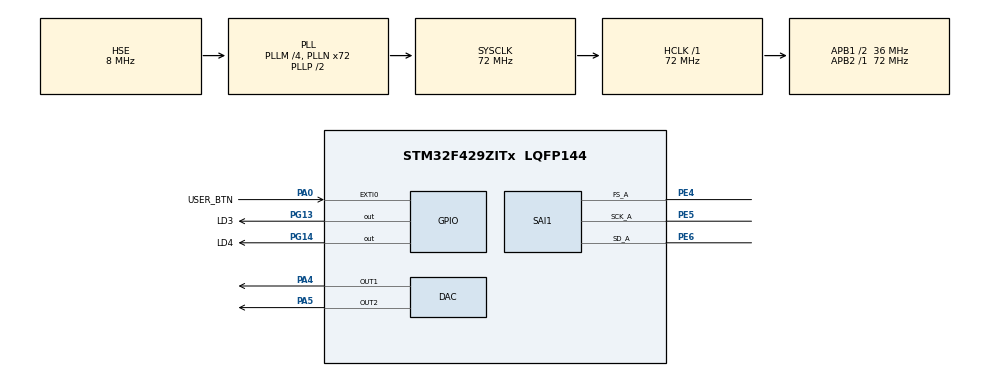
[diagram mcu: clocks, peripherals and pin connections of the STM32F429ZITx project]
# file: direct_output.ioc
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DAC.DAC_Trigger=DAC_TRIGGER_T2_TRGO
DAC.DAC_Trigger2=DAC_TRIGGER_T2_TRGO
DAC.WaveGeneration=DISABLE
Dma.DAC1.1.Direction=DMA_MEMORY_TO_PERIPH
Dma.DAC1.1.FIFOMode=DMA_FIFOMODE_DISABLE
Dma.DAC1.1.Instance=DMA1_Stream5
Dma.DAC1.1.MemDataAlignment=DMA_MDATAALIGN_HALFWORD
Dma.DAC1.1.MemInc=DMA_MINC_ENABLE
Dma.DAC1.1.Mode=DMA_CIRCULAR
Dma.DAC1.1.PeriphDataAlignment=DMA_PDATAALIGN_HALFWORD
Dma.DAC1.1.PeriphInc=DMA_PINC_DISABLE
Dma.DAC1.1.Priority=DMA_PRIORITY_LOW
Dma.DAC2.2.Direction=DMA_MEMORY_TO_PERIPH
Dma.DAC2.2.FIFOMode=DMA_FIFOMODE_DISABLE
Dma.DAC2.2.Instance=DMA1_Stream6
Dma.DAC2.2.MemDataAlignment=DMA_MDATAALIGN_HALFWORD
Dma.DAC2.2.MemInc=DMA_MINC_ENABLE
Dma.DAC2.2.Mode=DMA_CIRCULAR
Dma.DAC2.2.PeriphDataAlignment=DMA_PDATAALIGN_HALFWORD
Dma.DAC2.2.PeriphInc=DMA_PINC_DISABLE
Dma.DAC2.2.Priority=DMA_PRIORITY_LOW
Dma.Request0=SAI1_A
Dma.Request1=DAC1
Dma.Request2=DAC2
Dma.SAI1_A.0.Direction=DMA_PERIPH_TO_MEMORY
Dma.SAI1_A.0.FIFOMode=DMA_FIFOMODE_DISABLE
Dma.SAI1_A.0.Instance=DMA2_Stream1
Dma.SAI1_A.0.MemDataAlignment=DMA_MDATAALIGN_HALFWORD
Dma.SAI1_A.0.MemInc=DMA_MINC_ENABLE
Dma.SAI1_A.0.Mode=DMA_CIRCULAR
Dma.SAI1_A.0.PeriphDataAlignment=DMA_PDATAALIGN_HALFWORD
Dma.SAI1_A.0.PeriphInc=DMA_PINC_DISABLE
Dma.SAI1_A.0.Priority=DMA_PRIORITY_LOW
Mcu.Family=STM32F4
Mcu.Name=STM32F429ZITx
Mcu.Package=LQFP144
NVIC.DMA1_Stream5_IRQn=true\:0\:0\:false\:false\:true\:false\:true
NVIC.DMA1_Stream6_IRQn=true\:0\:0\:false\:false\:true\:false\:true
NVIC.DMA2_Stream1_IRQn=true\:0\:0\:false\:false\:true\:false\:true
NVIC.PriorityGroup=NVIC_PRIORITYGROUP_4
NVIC.TIM6_DAC_IRQn=true\:15\:0\:false\:false\:true\:false\:true
NVIC.TimeBase=TIM6_DAC_IRQn
NVIC.TimeBaseIP=TIM6
PA0/WKUP.GPIO_Label=USER_BTN
PA0/WKUP.GPIO_ModeDefaultEXTI=GPIO_MODE_EVT_RISING
PA0/WKUP.Signal=GPXTI0
PA13.Mode=Serial_Wire
PA13.Signal=SYS_JTMS-SWDIO
PA14.Mode=Serial_Wire
PA14.Signal=SYS_JTCK-SWCLK
PA4.Signal=COMP_DAC1_group
PA5.Signal=COMP_DAC2_group
PE4.Mode=SAI_A_Master
PE4.Signal=SAI1_FS_A
PE5.Mode=SAI_A_Master
PE5.Signal=SAI1_SCK_A
PE6.Mode=SAI_A_Master
PE6.Signal=SAI1_SD_A
PG13.GPIO_Label=LD3
PG13.Signal=GPIO_Output
PG14.GPIO_Label=LD4
PG14.Signal=GPIO_Output
PH0/OSC_IN.Mode=HSE-External-Oscillator
PH0/OSC_IN.Signal=RCC_OSC_IN
PH1/OSC_OUT.Mode=HSE-External-Oscillator
PH1/OSC_OUT.Signal=RCC_OSC_OUT
ProjectManager.HeapSize=0x200
ProjectManager.StackSize=0x400
ProjectManager.TargetToolchain=STM32CubeIDE
RCC.48MHZClocksFreq_Value=36000000
RCC.AHBFreq_Value=72000000
RCC.APB1CLKDivider=RCC_HCLK_DIV2
RCC.APB1Freq_Value=36000000
RCC.APB1TimFreq_Value=72000000
RCC.APB2Freq_Value=72000000
RCC.APB2TimFreq_Value=72000000
RCC.CortexFreq_Value=72000000
RCC.HCLKFreq_Value=72000000
RCC.HSE_VALUE=8000000
RCC.HSI_VALUE=16000000
RCC.LSE_VALUE=32768
RCC.PLLM=4
RCC.PLLN=72
RCC.PLLSAIDivQ=25
RCC.PLLSAIN=192
RCC.PLLSAIQ=5
RCC.PLLSourceVirtual=RCC_PLLSOURCE_HSE
RCC.SYSCLKFreq_VALUE=72000000
RCC.SYSCLKSource=RCC_SYSCLKSOURCE_PLLCLK
RCC.VCOOutputFreq_Value=144000000
SAI1.ActiveFrameLength-SAI_A_Master=32
SAI1.AudioMode-SAI_A_Master=SAI_MODEMASTER_RX
SAI1.ClockStrobing-SAI_A_Master=SAI_CLOCKSTROBING_RISINGEDGE
SAI1.DataSize-SAI_A_Master=SAI_DATASIZE_16
SAI1.ErrorAudioFreq-SAI_A_Master=-62.5 %
SAI1.FSDefinition-SAI_A_Master=SAI_FS_CHANNEL_IDENTIFICATION
SAI1.FrameLength-SAI_A_Master=64
SAI1.Instance-SAI_A_Master=SAI$Index_Block_A
SAI1.MClockEnable-SAI_A_Master=SAI_MASTERCLOCK_DISABLE
SAI1.NoDivider-SAI_A_Master=SAI_MASTERDIVIDER_DISABLE
SAI1.RealAudioFreq-SAI_A_Master=48.0 KHz
SAI1.SlotActive-SAI_A_Master=0x0000FFFF
SAI1.SlotNumber-SAI_A_Master=4
SAI1.Synchro_A=SAI_ASYNCHRONOUS
SAI1.VirtualMode-SAI_A_Master=VM_MASTER
SAI1.VirtualSlotActive-SAI_A_Master=SAI_SLOTACTIVE_ALL
SH.COMP_DAC1_group.0=DAC_OUT1,DAC_OUT1
SH.COMP_DAC2_group.0=DAC_OUT2,DAC_OUT2
TIM2.Period=1499
TIM2.TIM_MasterOutputTrigger=TIM_TRGO_UPDATE
VP_SYS_VS_tim6.Mode=TIM6
VP_TIM2_VS_ClockSourceINT.Mode=Internal
board=custom

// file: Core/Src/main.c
/* USER CODE BEGIN Header */
/**
  ******************************************************************************
  * @file           : main.c
  * @brief          : Main program body
  ******************************************************************************
  * @attention
  *
  * <h2><center>&copy; Copyright (c) 2021 STMicroelectronics.
  * All rights reserved.</center></h2>
  *
  * This software component is licensed by ST under BSD 3-Clause license,
  * the "License"; You may not use this file except in compliance with the
  * License. You may obtain a copy of the License at:
  *                        opensource.org/licenses/BSD-3-Clause
  *
  ******************************************************************************
  */
/* USER CODE END Header */
#include "main.h"

/* USER CODE BEGIN Includes */
#include "pdm_fir.h"
#include <stdlib.h>
#include <string.h>
/* USER CODE END Includes */

/* USER CODE BEGIN PTD */
/**
 * @brief Enum of States the Program can Take
 * */
typedef enum program_state {
    /** @brief Program Waiting for User Input */
    IDLE,
    /** @brief Program is outputing in real time captured output on the DAC*/
    RECORDING,
} program_state_t;
/* USER CODE END PTD */

/* USER CODE BEGIN PD */
// CLANG WARNING SUPPRESSION
#pragma clang diagnostic push
#pragma ide diagnostic ignored "EndlessLoop"

/** @brief PCM Sampling frequency in Hz*/
#define SOUND_FS 48000
/** @brief PDM -> PCM Sampling frequency factor */
#define DECIMATION_FACTOR 64

/** @brief Number of PDM Sample in A Word */
#define WORD_SIZE 16

/** @brief Duration of a real time cycle in Milliseconds **/
#define T_CYCLE_MS 1

// 1ms of PDM data @SOUND_FS*DECIMATION_FACTOR in WORD of WORD_SIZE
/** @brief PDM Processing buffer size (Contain 1ms of PDM Sample)*/
#define PDM_BUFFER_SIZE (T_CYCLE_MS * ((SOUND_FS / 1000) * DECIMATION_FACTOR / WORD_SIZE))

// 1ms of PCM_DATA in word of WORD_SIZE
/** @brief PCM Processing buffer size  (Contain 1ms of PDM Sample)*/
#define PCM_BUFFER_SIZE (T_CYCLE_MS * (SOUND_FS / 1000))

/** @brief Linear Gain applied on PCM Samples*/
#define LINEAR_GAIN 10

/* USER CODE END PD */

DAC_HandleTypeDef hdac;
DMA_HandleTypeDef hdma_dac1;
DMA_HandleTypeDef hdma_dac2;

SAI_HandleTypeDef hsai_BlockA1;
DMA_HandleTypeDef hdma_sai1_a;

TIM_HandleTypeDef htim2;

/* USER CODE BEGIN PV */
/** @brief Flag lowered when SAI buffer Callbacks to indicate that the one half of the SAI buffer is ready to be read*/
uint8_t sai_flag = 1;
/** @brief Flag indicating Witch half of the SAI is ready to be read */
uint8_t sai_half = 0;
/** @brief Flag lowered when DAC buffer Callbacks to indicate that one half of the DAC buffer Has been read*/
uint8_t dac_flag = 1;
/** @brief Flag indicating Witch half of the SAI is ready to be written to */
uint8_t dac_half = 0;

/* USER CODE END PV */

void SystemClock_Config(void);

static void MX_GPIO_Init(void);

static void MX_DMA_Init(void);

static void MX_DAC_Init(void);

static void MX_SAI1_Init(void);

static void MX_TIM2_Init(void);

/* USER CODE BEGIN 0 */

// Configuring SAI Interruption Callbacks
/**
  * @brief Rx Transfer half completed callback. SAI DMA Buffer
  * @param  hsai pointer to a SAI_HandleTypeDef structure that contains
  *               the configuration information for SAI module.
  * @retval None
  */
void HAL_SAI_RxHalfCpltCallback(SAI_HandleTypeDef *hsai) {
    sai_flag = 0;
    sai_half = 0;
}

/**
  * @brief Rx Transfer completed callback. SAI DMA Buffer
  * @param  hsai pointer to a SAI_HandleTypeDef structure that contains
  *               the configuration information for SAI module.
  * @retval None
  */
void HAL_SAI_RxCpltCallback(SAI_HandleTypeDef *hsai) {
    sai_flag = 0;
    sai_half = 1;
}

// Configuring DAC Interruption Callbacks
/**
  * @brief Tx Transfer half completed callback. DAC DMA Buffer
  * @param  hdac1 pointer to a DAC_HandleTypeDef structure that contains
  *               the configuration information for DAC module.
  * @retval None
  */
void HAL_DAC_ConvHalfCpltCallbackCh1(DAC_HandleTypeDef *hdac1) {
    dac_flag = 0;
    dac_half = 0;
}

/**
  * @brief Tx Transfer completed callback. DAC DMA Buffer
  * @param  hdac1 pointer to a DAC_HandleTypeDef structure that contains
  *               the configuration information for DAC module.
  * @retval None
  */
void HAL_DAC_ConvCpltCallbackCh1(DAC_HandleTypeDef *hdac1) {
    dac_flag = 0;
    dac_half = 1;
}

/* USER CODE END 0 */

int main(void) {
    /* USER CODE BEGIN 1 */
    // Declaring Initial STATE
    program_state_t current_state = IDLE;
    //declaring pdm_filter
    pdm_fir_filter_config_t pdm_filter;

    // Declaring Buffers
    // PDM -> PDM Buffers
    uint16_t pdm_buffer[PDM_BUFFER_SIZE * 2] = {0}; // Double buffer for HALF READ
    uint16_t pcm_buffer[PCM_BUFFER_SIZE] = {[0 ... PCM_BUFFER_SIZE - 1] = 0x7FF};

    // Constant (DAC centered Buffer) for IDLE State
    uint16_t void_buff[PCM_BUFFER_SIZE] = {[0 ... PCM_BUFFER_SIZE - 1] = 0x7FF};
    // DAC Channels Buffer
    uint16_t dac_buffer_l[PCM_BUFFER_SIZE * 2] = {[0 ... 2 * PCM_BUFFER_SIZE - 1] = 0x7FF};
    uint16_t dac_buffer_r[PCM_BUFFER_SIZE * 2] = {[0 ... 2 * PCM_BUFFER_SIZE - 1] = 0X7FF};

    /* USER CODE END 1 */

    /* MCU Configuration--------------------------------------------------------*/

    /* Reset of all peripherals, Initializes the Flash interface and the Systick. */
    HAL_Init();

    /* Configure the system clock */
    SystemClock_Config();

    /* Initialize all configured peripherals */
    MX_GPIO_Init();
    MX_DMA_Init();
    MX_DAC_Init();
    MX_SAI1_Init();
    MX_TIM2_Init();
    /* USER CODE BEGIN 2 */
    // Configuring PDM Filter
    pdm_fir_flt_config_init(&pdm_filter, DECIMATION_FACTOR, -50, 0x7FF, LINEAR_GAIN, 12);

    // Starting SAI Capture on DMA
    HAL_SAI_Receive_DMA(&hsai_BlockA1, (uint8_t *) pdm_buffer, PDM_BUFFER_SIZE * 2);

    // Starting DAC (left -> channel 1 -> PA4; right -> channel 2 -> PA5)
    HAL_DAC_Start_DMA(&hdac, DAC_CHANNEL_1, (uint32_t *) dac_buffer_l, PCM_BUFFER_SIZE * 2, DAC_ALIGN_12B_R);
    HAL_DAC_Start_DMA(&hdac, DAC_CHANNEL_2, (uint32_t *) dac_buffer_r, PCM_BUFFER_SIZE * 2, DAC_ALIGN_12B_R);

    // Starting DAC Sampling Clock (Configured for a DAC sampling frequency of 48kHz)
    HAL_TIM_Base_Start(&htim2);
    /* USER CODE END 2 */

    /* Infinite loop */
    /* USER CODE BEGIN WHILE */
    uint32_t idle_counter = 0;
    uint32_t cool_down = 0;
    const uint16_t *to_copy = void_buff;
    HAL_GPIO_WritePin(GPIOG, LD4_Pin, GPIO_PIN_SET); // Ready LED
    while (1) {
        /* USER CODE END WHILE */

        /* USER CODE BEGIN 3 */
        if (!sai_flag) {
            HAL_GPIO_WritePin(SAI_DMA_FLAG_GPIO_Port, SAI_DMA_FLAG_Pin, GPIO_PIN_SET);
            (void) pdm_fir_flt_chunk(&pdm_filter, pcm_buffer, pdm_buffer + sai_half * PDM_BUFFER_SIZE, PDM_BUFFER_SIZE);
            HAL_GPIO_WritePin(SAI_DMA_FLAG_GPIO_Port, SAI_DMA_FLAG_Pin, GPIO_PIN_RESET);
            if (cool_down > 0) cool_down--;
            sai_flag = 1;

        }
        if (!dac_flag) {
            HAL_GPIO_WritePin(DAC_DMA_FLAG_GPIO_Port, DAC_DMA_FLAG_Pin, GPIO_PIN_SET);
            memcpy(dac_buffer_l + dac_half * PCM_BUFFER_SIZE, to_copy, sizeof(uint16_t) * PCM_BUFFER_SIZE);
            memcpy(dac_buffer_r + dac_half * PCM_BUFFER_SIZE, to_copy, sizeof(uint16_t) * PCM_BUFFER_SIZE);
            dac_flag = 1;
            HAL_GPIO_WritePin(DAC_DMA_FLAG_GPIO_Port, DAC_DMA_FLAG_Pin, GPIO_PIN_RESET);
            //HAL_GPIO_WritePin(GPIOD, SAI_DMA_FLAG_Pin, GPIO_PIN_SET);
        }

        switch (current_state) {
            case RECORDING:
                if (HAL_GPIO_ReadPin(GPIOA, USER_BTN_Pin) == GPIO_PIN_SET && cool_down == 0) {
                    current_state = IDLE;
                    cool_down = 500;
                    HAL_GPIO_WritePin(GPIOG, LD3_Pin, GPIO_PIN_RESET);
                    to_copy = void_buff;
                }

                break;
            case IDLE:
                if (HAL_GPIO_ReadPin(GPIOA, USER_BTN_Pin) == GPIO_PIN_SET && cool_down == 0) {
                    current_state = RECORDING;
                    cool_down = 500;
                    HAL_GPIO_WritePin(GPIOG, LD3_Pin, GPIO_PIN_SET);
                    to_copy = pcm_buffer;
                }
                break;
            default:
                Error_Handler();
                break;
        }
        idle_counter = (idle_counter + 1) % 0XFFFF;
    }
    /* USER CODE END 3 */
}

void SystemClock_Config(void) {
    RCC_OscInitTypeDef RCC_OscInitStruct = {0};
    RCC_ClkInitTypeDef RCC_ClkInitStruct = {0};

    /** Macro to configure SAI1BlockA clock source selection
    */
    __HAL_RCC_SAI_BLOCKACLKSOURCE_CONFIG(SAI_CLKSOURCE_PLLSAI);
    /** Configure the main internal regulator output voltage
    */
    __HAL_RCC_PWR_CLK_ENABLE();
    __HAL_PWR_VOLTAGESCALING_CONFIG(PWR_REGULATOR_VOLTAGE_SCALE3);
    /** Initializes the RCC Oscillators according to the specified parameters
    * in the RCC_OscInitTypeDef structure.
    */
    RCC_OscInitStruct.OscillatorType = RCC_OSCILLATORTYPE_HSE;
    RCC_OscInitStruct.HSEState = RCC_HSE_ON;
    RCC_OscInitStruct.PLL.PLLState = RCC_PLL_ON;
    RCC_OscInitStruct.PLL.PLLSource = RCC_PLLSOURCE_HSE;
    RCC_OscInitStruct.PLL.PLLM = 4;
    RCC_OscInitStruct.PLL.PLLN = 72;
    RCC_OscInitStruct.PLL.PLLP = RCC_PLLP_DIV2;
    RCC_OscInitStruct.PLL.PLLQ = 4;
    if (HAL_RCC_OscConfig(&RCC_OscInitStruct) != HAL_OK) {
        Error_Handler();
    }
    /** Initializes the CPU, AHB and APB buses clocks
    */
    RCC_ClkInitStruct.ClockType = RCC_CLOCKTYPE_HCLK | RCC_CLOCKTYPE_SYSCLK
                                  | RCC_CLOCKTYPE_PCLK1 | RCC_CLOCKTYPE_PCLK2;
    RCC_ClkInitStruct.SYSCLKSource = RCC_SYSCLKSOURCE_PLLCLK;
    RCC_ClkInitStruct.AHBCLKDivider = RCC_SYSCLK_DIV1;
    RCC_ClkInitStruct.APB1CLKDivider = RCC_HCLK_DIV2;
    RCC_ClkInitStruct.APB2CLKDivider = RCC_HCLK_DIV1;

    if (HAL_RCC_ClockConfig(&RCC_ClkInitStruct, FLASH_LATENCY_2) != HAL_OK) {
        Error_Handler();
    }
}

static void MX_DAC_Init(void) {

    DAC_ChannelConfTypeDef sConfig = {0};

    /** DAC Initialization
    */
    hdac.Instance = DAC;
    if (HAL_DAC_Init(&hdac) != HAL_OK) {
        Error_Handler();
    }
    /** DAC channel OUT1 config
    */
    sConfig.DAC_Trigger = DAC_TRIGGER_T2_TRGO;
    sConfig.DAC_OutputBuffer = DAC_OUTPUTBUFFER_ENABLE;
    if (HAL_DAC_ConfigChannel(&hdac, &sConfig, DAC_CHANNEL_1) != HAL_OK) {
        Error_Handler();
    }
    /** DAC channel OUT2 config
    */
    if (HAL_DAC_ConfigChannel(&hdac, &sConfig, DAC_CHANNEL_2) != HAL_OK) {
        Error_Handler();
    }

}

static void MX_SAI1_Init(void) {

    hsai_BlockA1.Instance = SAI1_Block_A;
    hsai_BlockA1.Init.Protocol = SAI_FREE_PROTOCOL;
    hsai_BlockA1.Init.AudioMode = SAI_MODEMASTER_RX;
    hsai_BlockA1.Init.DataSize = SAI_DATASIZE_16;
    hsai_BlockA1.Init.FirstBit = SAI_FIRSTBIT_MSB;
    hsai_BlockA1.Init.ClockStrobing = SAI_CLOCKSTROBING_RISINGEDGE;
    hsai_BlockA1.Init.Synchro = SAI_ASYNCHRONOUS;
    hsai_BlockA1.Init.OutputDrive = SAI_OUTPUTDRIVE_DISABLE;
    hsai_BlockA1.Init.NoDivider = SAI_MASTERDIVIDER_DISABLE;
    hsai_BlockA1.Init.FIFOThreshold = SAI_FIFOTHRESHOLD_EMPTY;
    hsai_BlockA1.Init.ClockSource = SAI_CLKSOURCE_PLLSAI;
    hsai_BlockA1.FrameInit.FrameLength = 64;
    hsai_BlockA1.FrameInit.ActiveFrameLength = 32;
    hsai_BlockA1.FrameInit.FSDefinition = SAI_FS_CHANNEL_IDENTIFICATION;
    hsai_BlockA1.FrameInit.FSPolarity = SAI_FS_ACTIVE_LOW;
    hsai_BlockA1.FrameInit.FSOffset = SAI_FS_FIRSTBIT;
    hsai_BlockA1.SlotInit.FirstBitOffset = 0;
    hsai_BlockA1.SlotInit.SlotSize = SAI_SLOTSIZE_DATASIZE;
    hsai_BlockA1.SlotInit.SlotNumber = 4;
    hsai_BlockA1.SlotInit.SlotActive = 0x0000FFFF;
    if (HAL_SAI_Init(&hsai_BlockA1) != HAL_OK) {
        Error_Handler();
    }

}

static void MX_TIM2_Init(void) {

    TIM_ClockConfigTypeDef sClockSourceConfig = {0};
    TIM_MasterConfigTypeDef sMasterConfig = {0};

    htim2.Instance = TIM2;
    htim2.Init.Prescaler = 0;
    htim2.Init.CounterMode = TIM_COUNTERMODE_UP;
    htim2.Init.Period = 1499;
    htim2.Init.ClockDivision = TIM_CLOCKDIVISION_DIV1;
    htim2.Init.AutoReloadPreload = TIM_AUTORELOAD_PRELOAD_DISABLE;
    if (HAL_TIM_Base_Init(&htim2) != HAL_OK) {
        Error_Handler();
    }
    sClockSourceConfig.ClockSource = TIM_CLOCKSOURCE_INTERNAL;
    if (HAL_TIM_ConfigClockSource(&htim2, &sClockSourceConfig) != HAL_OK) {
        Error_Handler();
    }
    sMasterConfig.MasterOutputTrigger = TIM_TRGO_UPDATE;
    sMasterConfig.MasterSlaveMode = TIM_MASTERSLAVEMODE_DISABLE;
    if (HAL_TIMEx_MasterConfigSynchronization(&htim2, &sMasterConfig) != HAL_OK) {
        Error_Handler();
    }

}

static void MX_DMA_Init(void) {

    /* DMA controller clock enable */
    __HAL_RCC_DMA2_CLK_ENABLE();
    __HAL_RCC_DMA1_CLK_ENABLE();

    /* DMA interrupt init */
    /* DMA1_Stream5_IRQn interrupt configuration */
    HAL_NVIC_SetPriority(DMA1_Stream5_IRQn, 0, 0);
    HAL_NVIC_EnableIRQ(DMA1_Stream5_IRQn);
    /* DMA1_Stream6_IRQn interrupt configuration */
    HAL_NVIC_SetPriority(DMA1_Stream6_IRQn, 0, 0);
    HAL_NVIC_EnableIRQ(DMA1_Stream6_IRQn);
    /* DMA2_Stream1_IRQn interrupt configuration */
    HAL_NVIC_SetPriority(DMA2_Stream1_IRQn, 0, 0);
    HAL_NVIC_EnableIRQ(DMA2_Stream1_IRQn);

}

static void MX_GPIO_Init(void) {
    GPIO_InitTypeDef GPIO_InitStruct = {0};

    /* GPIO Ports Clock Enable */
    __HAL_RCC_GPIOE_CLK_ENABLE();
    __HAL_RCC_GPIOH_CLK_ENABLE();
    __HAL_RCC_GPIOA_CLK_ENABLE();
    __HAL_RCC_GPIOG_CLK_ENABLE();

    /*Configure GPIO pin Output Level */
    HAL_GPIO_WritePin(GPIOG, LD3_Pin | LD4_Pin, GPIO_PIN_RESET);

    /*Configure GPIO pin : USER_BTN_Pin */
    GPIO_InitStruct.Pin = USER_BTN_Pin;
    GPIO_InitStruct.Mode = GPIO_MODE_EVT_RISING;
    GPIO_InitStruct.Pull = GPIO_NOPULL;
    HAL_GPIO_Init(USER_BTN_GPIO_Port, &GPIO_InitStruct);

    /*Configure GPIO pins : LD3_Pin LD4_Pin */
    GPIO_InitStruct.Pin = LD3_Pin | LD4_Pin;
    GPIO_InitStruct.Mode = GPIO_MODE_OUTPUT_PP;
    GPIO_InitStruct.Pull = GPIO_NOPULL;
    GPIO_InitStruct.Speed = GPIO_SPEED_FREQ_LOW;
    HAL_GPIO_Init(GPIOG, &GPIO_InitStruct);

}

void HAL_TIM_PeriodElapsedCallback(TIM_HandleTypeDef *htim) {
    if (htim->Instance == TIM6) {
        HAL_IncTick();
    }
}

void Error_Handler(void) {
    /* USER CODE BEGIN Error_Handler_Debug */
    /* User can add his own implementation to report the HAL error return state */
    __disable_irq();
    HAL_GPIO_WritePin(GPIOG, LD4_Pin, GPIO_PIN_RESET); // READY LED
    while (1) {
    }
    /* USER CODE END Error_Handler_Debug */
}

/************************ (C) COPYRIGHT STMicroelectronics *****END OF FILE****/
